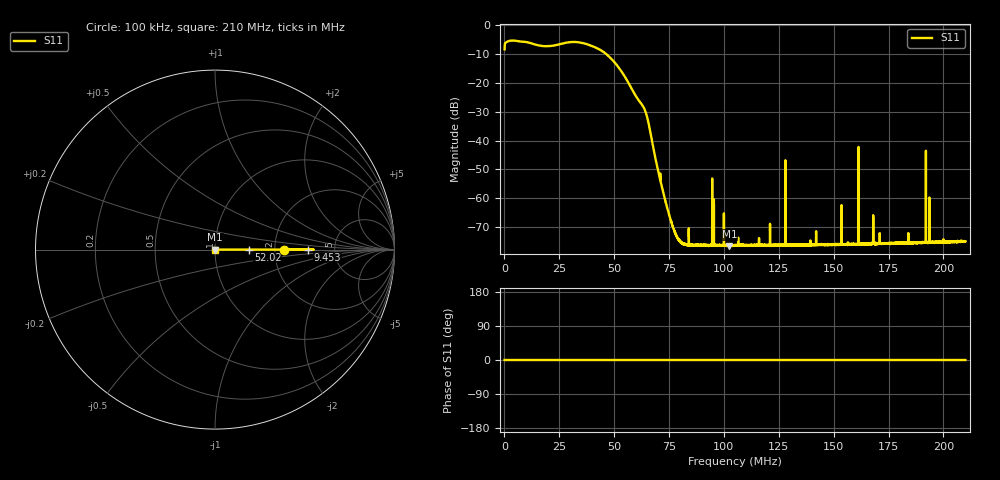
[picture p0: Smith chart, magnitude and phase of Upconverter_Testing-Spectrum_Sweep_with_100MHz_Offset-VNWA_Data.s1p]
! ListType=Lin
# MHz S DB R 50
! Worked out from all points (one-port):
!   8192 points, 100 kHz to 210 MHz, reference 50 ohm
!   lowest |S11| = -76.7 dB at 102.5 MHz (marker M1), VSWR 1.00, Z = 50 + j0 ohm
!   |S11| at or under -10 dB: 46.52 MHz to end of sweep
!   S11 on the Smith chart (normalised r, x): 100 kHz: 2.26, +0.00; 9.453 MHz: 3.15, +0.00; 52.02 MHz: 1.46, +0.00; 210 MHz: 1.00, +0.00
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0.1  -8.26 0.0
1.201904  -5.67 0.0
2.790697  -5.27 0.0
9.453376  -5.70 0.0
18.08923  -7.18 0.0
26.3407  -6.32 0.0
32.97776  -5.78 0.0
40.87047  -7.45 0.0
46.61062  -10.06 0.0
52.01764  -14.57 0.0
52.58141  -15.16 0.0
64.31797  -29.98 0.0
65.80426  -34.44 0.0
69.95562  -50.31 0.0
72.9282  -59.72 0.0
76.15704  -68.65 0.0
78.82211  -73.89 0.0
82.92222  -76.15 0.0
102.5259  -76.68 0.0
105.0628  -76.47 0.0
131.3035  -76.25 0.0
157.5442  -76.08 0.0
162.0543  -75.92 0.0
183.7849  -75.44 0.0
190.7807  -75.33 0.0
192.5745  -75.33 0.0
194.6502  -75.27 0.0
210  -74.97 0.0
